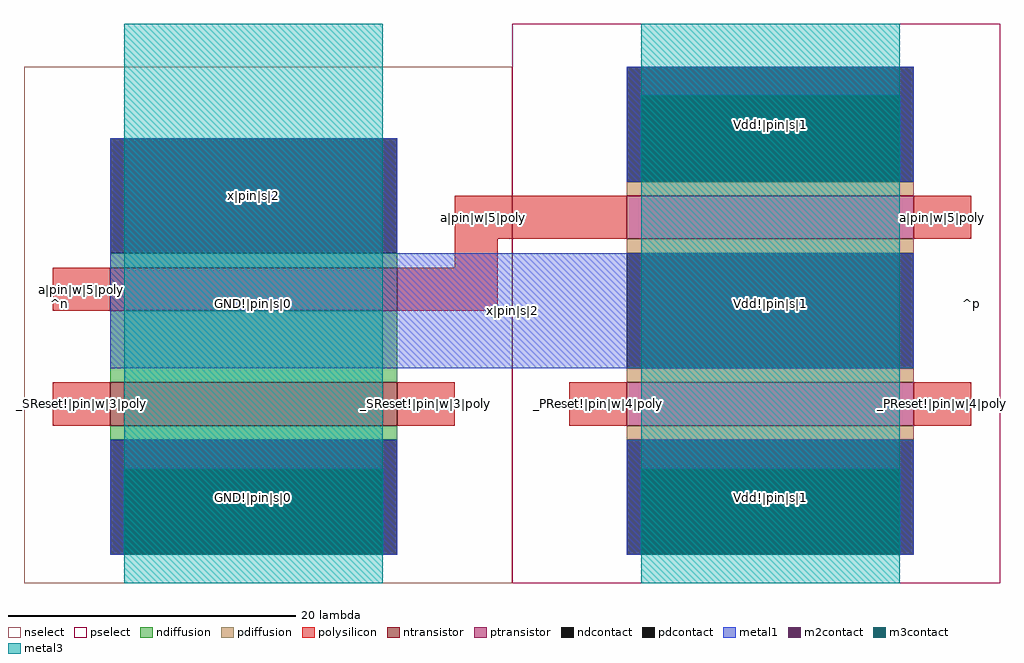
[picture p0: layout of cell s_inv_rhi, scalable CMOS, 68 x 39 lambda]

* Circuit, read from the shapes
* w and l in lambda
.subckt s_inv_rhi GND!|pin|s|0 Vdd!|pin|s|1 _PReset!|pin|w|4|poly _SReset!|pin|w|3|poly a|pin|w|5|poly x|pin|s|2
M1 n1 _SReset!|pin|w|3|poly GND!|pin|s|0 VSUBS nfet w=20 l=3
M2 x|pin|s|2 a|pin|w|5|poly n1 VSUBS nfet w=20 l=3
M3 x|pin|s|2 _PReset!|pin|w|4|poly Vdd!|pin|s|1 NWELL pfet w=20 l=3
M4 Vdd!|pin|s|1 a|pin|w|5|poly x|pin|s|2 NWELL pfet w=20 l=3
.ends

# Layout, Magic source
magic
tech scmos
<< nselect >>
rect -34 -18 0 18
<< pselect >>
rect 0 -18 34 21
<< ndiffusion >>
rect -28 4 -8 5
rect -28 -4 -8 1
rect -28 -8 -8 -7
<< pdiffusion >>
rect 8 9 28 10
rect 8 5 28 6
rect 8 -4 28 -3
rect 8 -8 28 -7
<< ntransistor >>
rect -28 1 -8 4
rect -28 -7 -8 -4
<< ptransistor >>
rect 8 6 28 9
rect 8 -7 28 -4
<< polysilicon >>
rect -4 6 8 9
rect 28 6 32 9
rect -4 4 -1 6
rect -32 1 -28 4
rect -8 1 -1 4
rect -32 -7 -28 -4
rect -8 -7 -4 -4
rect 4 -7 8 -4
rect 28 -7 32 -4
<< ndcontact >>
rect -28 5 -8 13
rect -28 -16 -8 -8
<< pdcontact >>
rect 8 10 28 18
rect 8 -3 28 5
rect 8 -16 28 -8
<< metal1 >>
rect 8 16 28 18
rect -28 5 -8 13
rect 8 10 9 16
rect 27 10 28 16
rect -28 -3 28 5
rect -28 -10 -8 -8
rect -28 -16 -27 -10
rect -9 -16 -8 -10
rect 8 -10 28 -8
rect 8 -16 9 -10
rect 27 -16 28 -10
<< m2contact >>
rect 9 10 27 16
rect -27 -16 -9 -10
rect 9 -16 27 -10
<< m3contact >>
rect 9 10 27 16
rect -27 -16 -9 -10
rect 9 -16 27 -10
<< metal3 >>
rect -27 -18 -9 21
rect 9 -18 27 21
<< labels >>
rlabel space -35 -18 -28 21 7 ^n
rlabel space 28 -18 36 21 3 ^p
rlabel metal3 -27 -18 -9 21 1 GND!|pin|s|0
rlabel metal1 -28 -16 -8 -8 1 GND!|pin|s|0
rlabel metal3 9 -18 27 21 1 Vdd!|pin|s|1
rlabel metal1 8 10 28 18 1 Vdd!|pin|s|1
rlabel metal1 8 -16 28 -8 1 Vdd!|pin|s|1
rlabel metal1 -28 -3 28 5 1 x|pin|s|2
rlabel metal1 -28 5 -8 13 1 x|pin|s|2
rlabel polysilicon -32 -7 -28 -4 1 _SReset!|pin|w|3|poly
rlabel polysilicon -8 -7 -4 -4 1 _SReset!|pin|w|3|poly
rlabel polysilicon 4 -7 8 -4 1 _PReset!|pin|w|4|poly
rlabel polysilicon 28 -7 32 -4 1 _PReset!|pin|w|4|poly
rlabel polysilicon 28 6 32 9 1 a|pin|w|5|poly
rlabel polysilicon -4 6 0 9 1 a|pin|w|5|poly
rlabel polysilicon -32 1 -28 4 1 a|pin|w|5|poly
<< end >>
